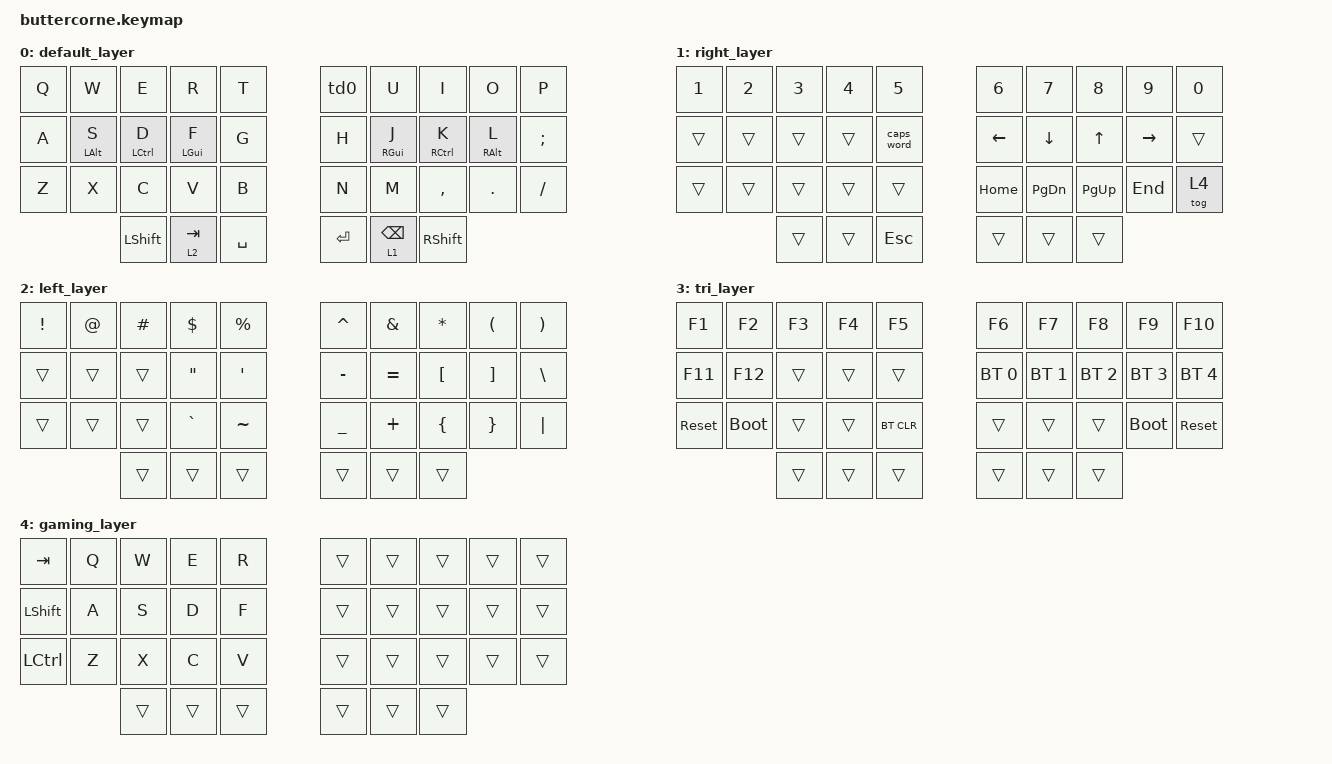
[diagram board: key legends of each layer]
/*
 * Buttercorne keymap — 36 keys (5 cols × 3 rows per half + 3 thumb keys per side)
 *
 * Derived from corne.keymap: identical behaviors and layer logic, outer pinky
 * column (the &trans / shift column) removed since the Buttercorne has no 6th
 * column. Shift is covered by the dedicated thumb Shift keys.
 *
 * Layer order:
 *   0 Default  — QWERTY + home-row mods
 *   1 Numbers  — numbers row + navigation (hold Backspace)
 *   2 Symbols  — symbols (hold Tab)
 *   3 Function — F-keys + Bluetooth (tri-layer: hold both 1 and 2)
 *   4 Gaming   — WASD layer (toggle from layer 1)
 *
 * SPDX-License-Identifier: MIT
 */

#include <behaviors.dtsi>
#include <dt-bindings/zmk/keys.h>
#include <dt-bindings/zmk/bt.h>

&lt {
    flavor = "hold-preferred";
    quick-tap-ms = <0>;
    tapping-term-ms = <240>;
};

/ {
    behaviors {
        ht: hold_tap {
            compatible = "zmk,behavior-hold-tap";
            #binding-cells = <2>;
            flavor = "tap-preferred";
            tapping-term-ms = <150>;
            quick-tap-ms = <0>;
            bindings = <&kp>, <&kp>;
        };
        hta: hold_tap_alt {
            compatible = "zmk,behavior-hold-tap";
            #binding-cells = <2>;
            flavor = "tap-preferred";
            tapping-term-ms = <240>;
            quick-tap-ms = <0>;
            bindings = <&kp>, <&kp>;
        };
        hts: hold_tap_shift {
            compatible = "zmk,behavior-hold-tap";
            #binding-cells = <2>;
            flavor = "hold-preferred";
            tapping-term-ms = <400>;
            bindings = <&kp>, <&kp>;
            require-prior-idle-ms = <100>;
        };
        td0: tap_dance_0 {
            compatible = "zmk,behavior-tap-dance";
            #binding-cells = <0>;
            tapping-term-ms = <160>;
            bindings = <&kp Y>, <&kp ESC>;
        };
    };

    conditional_layers {
        compatible = "zmk,conditional-layers";
        tri_layer {
            if-layers = <1 2>;
            then-layer = <3>;
        };
    };

    keymap {
        compatible = "zmk,keymap";

        default_layer {
            bindings = <
        //╭──────────┬──────────┬──────────┬──────────┬──────────╮   ╭──────────┬──────────┬──────────┬──────────┬──────────╮
        //│  Q       │  W       │  E       │  R       │  T       │   │  Y, ESC  │  U       │  I       │  O       │  P       │
          &kp Q      &kp W      &kp E      &kp R      &kp T          &td0       &kp U      &kp I      &kp O      &kp P
        //├──────────┼──────────┼──────────┼──────────┼──────────┤   ├──────────┼──────────┼──────────┼──────────┼──────────┤
        //│  A       │ S/LAlt   │ D/LCtrl  │ F/LGui   │  G       │   │  H       │ J/RGui   │ K/RCtrl  │ L/RAlt   │  ; :     │
          &kp A  &hta LALT S  &ht LCTRL D  &ht LGUI F  &kp G          &kp H  &ht RGUI J  &ht RCTRL K  &hta RALT L  &kp SEMI
        //├──────────┼──────────┼──────────┼──────────┼──────────┤   ├──────────┼──────────┼──────────┼──────────┼──────────┤
        //│  Z       │  X       │  C       │  V       │  B       │   │  N       │  M       │  , <     │  . >     │  / ?     │
          &kp Z      &kp X      &kp C      &kp V      &kp B          &kp N      &kp M      &kp COMMA  &kp DOT    &kp FSLH
        //╰──────────┴──────────┴──────────┼──────────┼──────────┤   ├──────────┼──────────┼──────────┴──────────┴──────────╯
        //                                 │  LShift  │ LT2/Tab  │   │  Space   │  Enter   │ LT1/Bspc │  RShift  │
                                   &kp LSHFT  &lt 2 TAB  &kp SPACE      &kp ENTER  &lt 1 BSPC  &kp RSHFT
        //                                 ╰──────────┴──────────╯   ╰──────────┴──────────╯
            >;
        };

        right_layer {
            bindings = <
        //╭──────────┬──────────┬──────────┬──────────┬──────────╮   ╭──────────┬──────────┬──────────┬──────────┬──────────╮
        //│  1       │  2       │  3       │  4       │  5       │   │  6       │  7       │  8       │  9       │  0       │
          &kp N1     &kp N2     &kp N3     &kp N4     &kp N5         &kp N6     &kp N7     &kp N8     &kp N9     &kp N0
        //├──────────┼──────────┼──────────┼──────────┼──────────┤   ├──────────┼──────────┼──────────┼──────────┼──────────┤
        //│          │          │          │          │ CapsWord │   │  LEFT    │  DOWN    │  UP      │  RIGHT   │          │
          &trans     &trans     &trans     &trans     &caps_word     &kp LEFT   &kp DOWN   &kp UP     &kp RIGHT  &trans
        //├──────────┼──────────┼──────────┼──────────┼──────────┤   ├──────────┼──────────┼──────────┼──────────┼──────────┤
        //│          │          │          │          │          │   │  Home    │  PgDn    │  PgUp    │  End     │ Gaming   │
          &trans     &trans     &trans     &trans     &trans         &kp HOME   &kp PG_DN  &kp PG_UP  &kp END    &tog 4
        //╰──────────┴──────────┴──────────┼──────────┼──────────┤   ├──────────┼──────────┼──────────┴──────────┴──────────╯
                                            &trans     &trans         &kp ESC    &trans     &trans     &trans
        //                                 ╰──────────┴──────────╯   ╰──────────┴──────────╯
            >;
        };

        left_layer {
            bindings = <
        //╭──────────┬──────────┬──────────┬──────────┬──────────╮   ╭──────────┬──────────┬──────────┬──────────┬──────────╮
        //│  !       │  @       │  #       │  $       │  %       │   │  ^       │  &       │  *       │  (       │  )       │
          &kp EXCL   &kp AT     &kp HASH   &kp DLLR   &kp PRCNT      &kp CARET  &kp AMPS   &kp STAR   &kp LPAR   &kp RPAR
        //├──────────┼──────────┼──────────┼──────────┼──────────┤   ├──────────┼──────────┼──────────┼──────────┼──────────┤
        //│          │          │          │  "       │  '       │   │  -       │  =       │  [       │  ]       │  \       │
          &trans     &trans     &trans     &kp DQT    &kp SQT        &kp MINUS  &kp EQUAL  &kp LBKT   &kp RBKT   &kp BSLH
        //├──────────┼──────────┼──────────┼──────────┼──────────┤   ├──────────┼──────────┼──────────┼──────────┼──────────┤
        //│          │          │          │  `       │  ~       │   │  _       │  +       │  {       │  }       │  |       │
          &trans     &trans     &trans     &kp GRAVE  &kp TILDE      &kp UNDER  &kp PLUS   &kp LBRC   &kp RBRC   &kp PIPE
        //╰──────────┴──────────┴──────────┼──────────┼──────────┤   ├──────────┼──────────┼──────────┴──────────┴──────────╯
                                            &trans     &trans         &trans     &trans     &trans     &trans
        //                                 ╰──────────┴──────────╯   ╰──────────┴──────────╯
            >;
        };

        tri_layer {
            bindings = <
        //╭──────────┬──────────┬──────────┬──────────┬──────────╮   ╭──────────┬──────────┬──────────┬──────────┬──────────╮
        //│  F1      │  F2      │  F3      │  F4      │  F5      │   │  F6      │  F7      │  F8      │  F9      │  F10     │
          &kp F1     &kp F2     &kp F3     &kp F4     &kp F5         &kp F6     &kp F7     &kp F8     &kp F9     &kp F10
        //├──────────┼──────────┼──────────┼──────────┼──────────┤   ├──────────┼──────────┼──────────┼──────────┼──────────┤
        //│  F11     │  F12     │          │          │          │   │ BT SEL 0 │ BT SEL 1 │ BT SEL 2 │ BT SEL 3 │ BT SEL 4 │
          &kp F11    &kp F12    &trans     &trans     &trans         &bt BT_SEL 0  &bt BT_SEL 1  &bt BT_SEL 2  &bt BT_SEL 3  &bt BT_SEL 4
        //├──────────┼──────────┼──────────┼──────────┼──────────┤   ├──────────┼──────────┼──────────┼──────────┼──────────┤
        //│  RESET   │  BOOT    │          │          │ CLEAR BT │   │          │          │          │  BOOT    │  RESET   │
          &sys_reset &bootloader &trans    &trans     &bt BT_CLR     &trans     &trans     &trans     &bootloader &sys_reset
        //╰──────────┴──────────┴──────────┼──────────┼──────────┤   ├──────────┼──────────┼──────────┴──────────┴──────────╯
                                            &trans     &trans         &trans     &trans     &trans     &trans
        //                                 ╰──────────┴──────────╯   ╰──────────┴──────────╯
            >;
        };

        gaming_layer {
            bindings = <
        //╭──────────┬──────────┬──────────┬──────────┬──────────╮   ╭──────────┬──────────┬──────────┬──────────┬──────────╮
        //│  Tab     │  Q       │  W       │  E       │  R       │   │          │          │          │          │          │
          &kp TAB    &kp Q      &kp W      &kp E      &kp R          &trans     &trans     &trans     &trans     &trans
        //├──────────┼──────────┼──────────┼──────────┼──────────┤   ├──────────┼──────────┼──────────┼──────────┼──────────┤
        //│  LShift  │  A       │  S       │  D       │  F       │   │          │          │          │          │          │
          &kp LSHIFT &kp A      &kp S      &kp D      &kp F          &trans     &trans     &trans     &trans     &trans
        //├──────────┼──────────┼──────────┼──────────┼──────────┤   ├──────────┼──────────┼──────────┼──────────┼──────────┤
        //│  LCtrl   │  Z       │  X       │  C       │  V       │   │          │          │          │          │          │
          &kp LCTRL  &kp Z      &kp X      &kp C      &kp V          &trans     &trans     &trans     &trans     &trans
        //╰──────────┴──────────┴──────────┼──────────┼──────────┤   ├──────────┼──────────┼──────────┴──────────┴──────────╯
                                            &trans     &trans         &trans     &trans     &trans     &trans
        //                                 ╰──────────┴──────────╯   ╰──────────┴──────────╯
            >;
        };
    };
};
